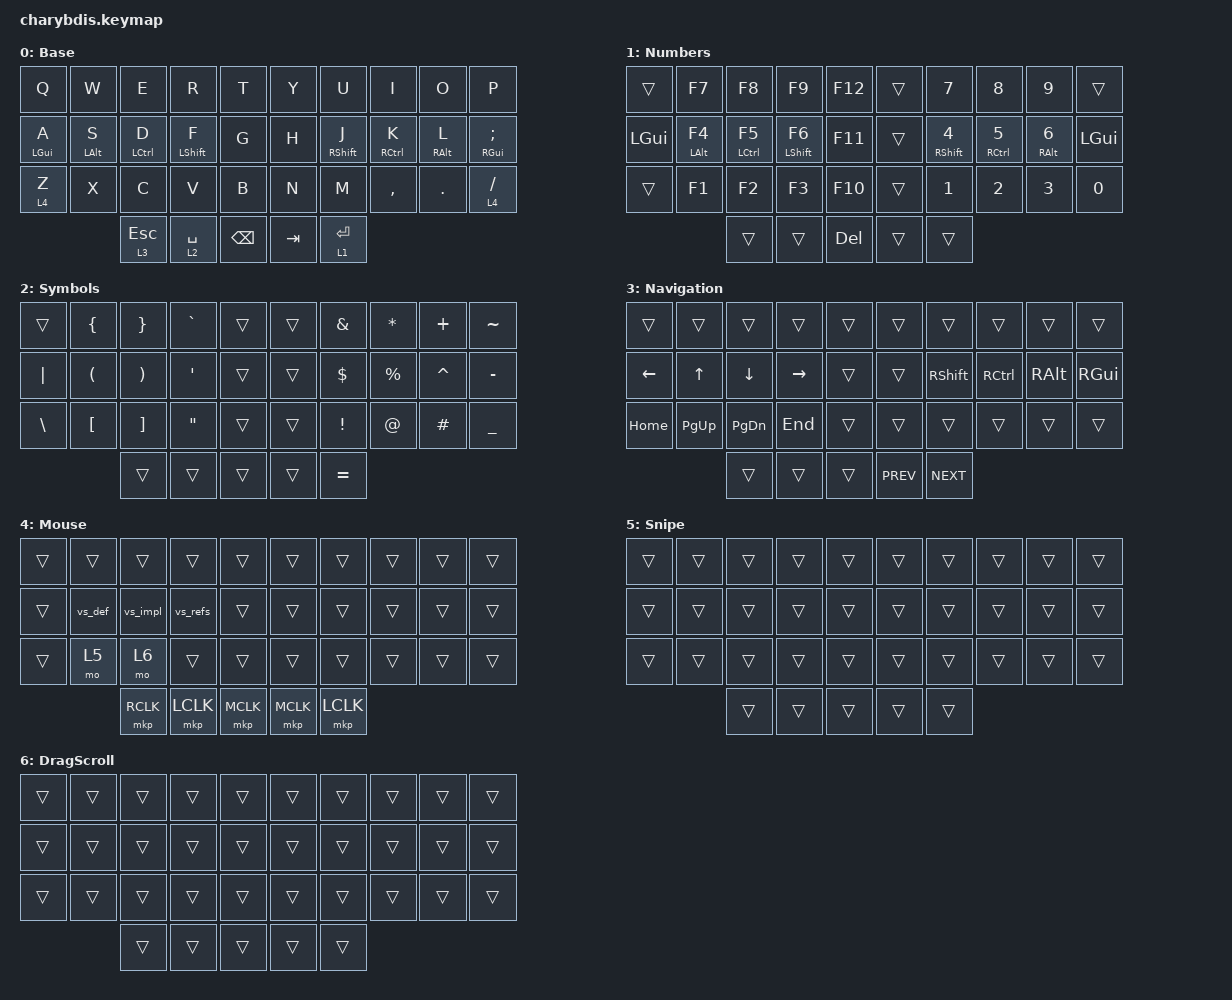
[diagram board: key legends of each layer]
#include <dt-bindings/zmk/mouse.h>
#include <behaviors.dtsi>
#include <dt-bindings/zmk/keys.h>
#include <dt-bindings/zmk/pointing.h>

/* Base */

#define b 0

/* Navigation */

#define n 1

/* Symbols */

#define s 2

/* Numbers */

#define u 3

/* Mouse */

#define m 4

/* Snipe */

#define snp 5

/* Drag Scroll */

#define drg 6

&lt {
    hold-while-undecided;
    hold-while-undecided-linger;
    hold-trigger-on-release;
};

/ {
    trackball_listener {
        compatible = "zmk,input-behavior-listener";
        device = <&vtrackball>;
        layers = <b m>;
        evt-type = <INPUT_EV_REL>;
        x-input-code = <INPUT_REL_X>;
        y-input-code = <INPUT_REL_Y>;
        scale-multiplier = <1>;
        scale-divisor = <8>;
    };

    trackball_snipe_listener {
        compatible = "zmk,input-behavior-listener";
        device = <&vtrackball>;
        layers = <snp>;
        evt-type = <INPUT_EV_REL>;
        x-input-code = <INPUT_REL_X>;
        y-input-code = <INPUT_REL_Y>;
        scale-multiplier = <1>;
        scale-divisor = <12>;
    };

    trackball_scroll_listener {
        compatible = "zmk,input-behavior-listener";
        device = <&vtrackball>;
        layers = <drg>;
        evt-type = <INPUT_EV_REL>;
        x-input-code = <INPUT_REL_MISC>;
        y-input-code = <INPUT_REL_WHEEL>;
        scale-divisor = <6>;
        y-invert;
        bindings = <&ib_wheel_scaler 1 8>;
    };

    ib_wheel_scaler: ib_wheel_scaler {
        compatible = "zmk,input-behavior-scaler";
        #binding-cells = <2>;
        evt-type = <INPUT_EV_REL>;
        input-code = <INPUT_REL_WHEEL>;
    };

    behaviors {
        hl: homewrow_mods_left {
            compatible = "zmk,behavior-hold-tap";
            label = "HOMEROW_MODS_LEFT_HAND";
            bindings = <&kp>, <&kp>;

            #binding-cells = <2>;
            tapping-term-ms = <200>;
            flavor = "tap-preferred";
            hold-while-undecided;
            hold-while-undecided-linger;
            hold-trigger-on-release;
        };

        hr: homewrow_mods_right {
            compatible = "zmk,behavior-hold-tap";
            label = "HOMEROW_MODS_RIGHT_HAND";
            bindings = <&kp>, <&kp>;

            #binding-cells = <2>;
            tapping-term-ms = <200>;
            flavor = "tap-preferred";
            hold-while-undecided;
            hold-while-undecided-linger;
            hold-trigger-on-release;
        };
    };

    chosen { zmk,matrix_transform = &five_column_transform; };

    combos {
        compatible = "zmk,combos";

        combo_capsword {
            timeout-ms = <40>;
            key-positions = <2 7>;
            bindings = <&caps_word>;
            require-prior-idle-ms = <150>;
            layers = <0>;
        };

        combo_capslock {
            timeout-ms = <40>;
            key-positions = <1 8>;
            bindings = <&kp CAPS>;
            require-prior-idle-ms = <150>;
            layers = <0>;
        };

        combo_lang {
            bindings = <&kp LG(SPACE)>;
            key-positions = <13 12>;
        };
    };

    macros {
        vs_def: vs_go_to_definition {
            compatible = "zmk,behavior-macro";
            #binding-cells = <0>;
            bindings = <&mkp LCLK &kp F12>;
            label = "VS_GO_TO_DEFINITION";
        };

        vs_impl: vs_go_to_implementation {
            compatible = "zmk,behavior-macro";
            #binding-cells = <0>;
            bindings = <&mkp LCLK &kp LC(F12)>;
            label = "VS_GO_TO_IMPLEMENTATION";
        };

        vs_refs: vs_refs {
            compatible = "zmk,behavior-macro";
            #binding-cells = <0>;
            bindings = <&mkp LCLK &kp LC(K) &kp R>;
            label = "VS_REFS";
        };
    };

    keymap {
        compatible = "zmk,keymap";

        Base {
            bindings = <
  &kp Q       &kp W       &kp E         &kp R        &kp T            &kp Y    &kp U        &kp I        &kp O       &kp P
  &hl LGUI A  &hl LALT S  &hl LCTRL D   &hl LSHFT F  &kp G            &kp H    &hr RSHFT J  &hr RCTRL K  &hr RALT L  &hr RGUI SEMICOLON
  &lt 4 Z     &kp X       &kp C         &kp V        &kp B            &kp N    &kp M        &kp COMMA    &kp DOT     &lt 4 SLASH
                          &lt 3 ESCAPE  &lt 2 SPACE  &kp BACKSPACE    &kp TAB  &lt 1 ENTER
            >;
        };

        Numbers {
            bindings = <
  &trans        &kp F7           &kp F8        &kp F9         &kp F12    &trans  &kp N7        &kp N8        &kp N9       &trans
  &kp LEFT_GUI  &hl LEFT_ALT F4  &hl LCTRL F5  &hl LSHIFT F6  &kp F11    &trans  &hr RSHFT N4  &hr RCTRL N5  &hr RALT N6  &kp LEFT_GUI
  &trans        &kp F1           &kp F2        &kp F3         &kp F10    &trans  &kp N1        &kp N2        &kp N3       &kp N0
                                 &trans        &trans         &kp DEL    &trans  &trans
            >;
        };

        Symbols {
            bindings = <
  &trans         &kp LEFT_BRACE        &kp RIGHT_BRACE        &kp GRAVE          &trans    &trans  &kp AMPS   &kp STAR   &kp PLUS   &kp TILDE
  &kp PIPE       &kp LEFT_PARENTHESIS  &kp RIGHT_PARENTHESIS  &kp SINGLE_QUOTE   &trans    &trans  &kp DLLR   &kp PRCNT  &kp CARET  &kp MINUS
  &kp BACKSLASH  &kp LEFT_BRACKET      &kp RIGHT_BRACKET      &kp DOUBLE_QUOTES  &trans    &trans  &kp EXCL   &kp AT     &kp HASH   &kp UNDER
                                       &trans                 &trans             &trans    &trans  &kp EQUAL
            >;
        };

        Navigation {
            bindings = <
  &trans    &trans       &trans         &trans     &trans    &trans      &trans      &trans     &trans    &trans
  &kp LEFT  &kp UP       &kp DOWN       &kp RIGHT  &trans    &trans      &kp RSHFT   &kp RCTRL  &kp RALT  &kp RGUI
  &kp HOME  &kp PAGE_UP  &kp PAGE_DOWN  &kp END    &trans    &trans      &trans      &trans     &trans    &trans
                         &trans         &trans     &trans    &kp K_PREV  &kp K_NEXT
            >;
        };

        Mouse {
            bindings = <
  &trans  &trans   &trans     &trans     &trans       &trans     &trans     &trans  &trans  &trans
  &trans  &vs_def  &vs_impl   &vs_refs   &trans       &trans     &trans     &trans  &trans  &trans
  &trans  &mo 5    &mo 6      &trans     &trans       &trans     &trans     &trans  &trans  &trans
                   &mkp RCLK  &mkp LCLK  &mkp MCLK    &mkp MCLK  &mkp LCLK
            >;
        };

        Snipe {
            bindings = <
  &trans  &trans  &trans  &trans  &trans    &trans  &trans  &trans  &trans  &trans
  &trans  &trans  &trans  &trans  &trans    &trans  &trans  &trans  &trans  &trans
  &trans  &trans  &trans  &trans  &trans    &trans  &trans  &trans  &trans  &trans
                  &trans  &trans  &trans    &trans  &trans
            >;
        };

        DragScroll {
            bindings = <
  &trans  &trans  &trans  &trans  &trans    &trans  &trans  &trans  &trans  &trans
  &trans  &trans  &trans  &trans  &trans    &trans  &trans  &trans  &trans  &trans
  &trans  &trans  &trans  &trans  &trans    &trans  &trans  &trans  &trans  &trans
                  &trans  &trans  &trans    &trans  &trans
            >;
        };
    };
};
